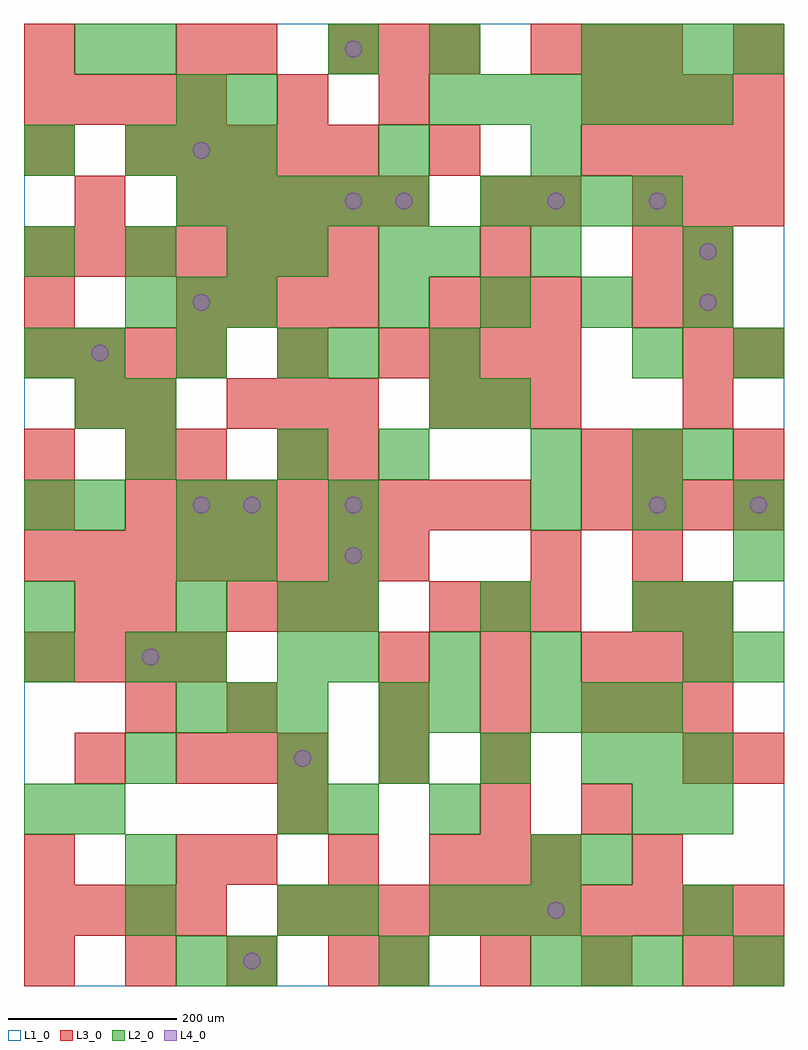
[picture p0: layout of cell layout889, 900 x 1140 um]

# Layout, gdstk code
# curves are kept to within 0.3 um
import gdstk
lib = gdstk.Library(unit=1e-6, precision=1e-09)
def R(c, l, rs):  # rectangles x0, y0, x1, y1
    for r in rs: c.add(gdstk.rectangle(r[:2], r[2:], *l))
def A(c, l, x, y, w, h, nx, ny, dx, dy):  # array of equal rectangles
    R(c, l, [(x+i*dx, y+j*dy, x+i*dx+w, y+j*dy+h) for i in range(nx) for j in range(ny)])
def P(c, l, *ps):  # polygons
    for p in ps: c.add(gdstk.Polygon(p, *l))
L1_0 = (1, 0)
L2_0 = (2, 0)
L3_0 = (3, 0)
L4_0 = (4, 0)

layout889 = lib.new_cell('layout889')
R(layout889, L1_0, [(0,0,900,1140)])
A(layout889, L2_0, 240, 0, 60, 60, 3, 1, 180, 0)
A(layout889, L2_0, 480, 60, 60, 60, 3, 1, 60, 0)
A(layout889, L2_0, 120, 120, 60, 60, 1, 3, 0, 120)
A(layout889, L2_0, 300, 240, 60, 60, 4, 1, 120, 0)
A(layout889, L2_0, 180, 300, 60, 60, 3, 1, 60, 0)
A(layout889, L2_0, 600, 300, 60, 60, 3, 1, 60, 0)
A(layout889, L2_0, 180, 360, 60, 60, 1, 4, 0, 60)
A(layout889, L2_0, 360, 360, 60, 60, 3, 1, 120, 0)
A(layout889, L2_0, 360, 420, 60, 60, 3, 1, 180, 0)
A(layout889, L2_0, 600, 540, 60, 60, 3, 1, 120, 0)
A(layout889, L2_0, 60, 720, 60, 60, 3, 1, 120, 0)
A(layout889, L2_0, 120, 780, 60, 60, 3, 2, 60, 180)
A(layout889, L2_0, 420, 780, 60, 60, 4, 1, 120, 0)
A(layout889, L2_0, 0, 840, 60, 60, 3, 1, 120, 0)
A(layout889, L2_0, 180, 900, 60, 60, 5, 1, 60, 0)
A(layout889, L2_0, 540, 900, 60, 60, 4, 1, 60, 0)
A(layout889, L2_0, 480, 1020, 60, 60, 6, 1, 60, 0)
A(layout889, L2_0, 660, 1080, 60, 60, 4, 1, 60, 0)
R(layout889, L2_0, [(180,0,240,60), (660,0,720,60), (720,0,780,60), (840,0,900,60), (120,60,180,120), (300,60,360,120), (360,60,420,120), (780,60,840,120), (600,120,660,180), (660,120,720,180), (0,180,60,240), (60,180,120,240), (300,180,360,240), (360,180,420,240), (480,180,540,240), (720,180,780,240), (780,180,840,240), (720,240,780,300), (780,240,840,300), (420,300,480,360), (480,300,540,360), (0,360,60,420), (300,360,360,420), (780,360,840,420), (840,360,900,420), (0,420,60,480), (300,420,360,480), (780,420,840,480), (240,480,300,540), (360,480,420,540), (840,480,900,540), (0,540,60,600), (60,540,120,600), (240,540,300,600), (360,540,420,600), (120,600,180,660), (300,600,360,660), (420,600,480,660), (600,600,660,660), (720,600,780,660), (780,600,840,660), (60,660,120,720), (120,660,180,720), (480,660,540,720), (540,660,600,720), (0,720,60,780), (360,720,420,780), (480,720,540,780), (720,720,780,780), (840,720,900,780), (300,840,360,900), (420,840,480,900), (480,840,540,900), (600,840,660,900), (780,840,840,900), (0,960,60,1020), (420,960,480,1020), (600,960,660,1020), (180,1020,240,1080), (240,1020,300,1080), (60,1080,120,1140), (120,1080,180,1140), (360,1080,420,1140), (480,1080,540,1140)])
A(layout889, L3_0, 0, 0, 60, 60, 4, 1, 120, 0)
A(layout889, L3_0, 420, 0, 60, 60, 4, 1, 120, 0)
A(layout889, L3_0, 0, 60, 60, 60, 4, 2, 60, 300)
A(layout889, L3_0, 300, 60, 60, 60, 10, 1, 60, 0)
A(layout889, L3_0, 180, 120, 60, 60, 1, 3, 0, 480)
A(layout889, L3_0, 240, 120, 60, 60, 3, 1, 120, 0)
A(layout889, L3_0, 540, 120, 60, 60, 1, 3, 0, 60)
A(layout889, L3_0, 180, 240, 60, 60, 3, 1, 60, 0)
A(layout889, L3_0, 780, 240, 60, 60, 1, 4, 0, 60)
A(layout889, L3_0, 420, 300, 60, 60, 3, 2, 120, 60)
A(layout889, L3_0, 720, 300, 60, 60, 1, 4, 0, 60)
A(layout889, L3_0, 60, 420, 60, 60, 1, 3, 0, 240)
A(layout889, L3_0, 240, 420, 60, 60, 3, 2, 60, 240)
A(layout889, L3_0, 480, 420, 60, 60, 3, 2, 60, 240)
A(layout889, L3_0, 0, 480, 60, 60, 8, 1, 60, 0)
A(layout889, L3_0, 120, 540, 60, 60, 8, 1, 60, 0)
A(layout889, L3_0, 660, 540, 60, 60, 4, 2, 60, 420)
A(layout889, L3_0, 0, 600, 60, 60, 1, 3, 0, 180)
A(layout889, L3_0, 780, 660, 60, 60, 1, 4, 0, 60)
A(layout889, L3_0, 0, 720, 60, 60, 4, 2, 60, 300)
A(layout889, L3_0, 420, 720, 60, 60, 4, 1, 60, 0)
A(layout889, L3_0, 180, 780, 60, 60, 4, 1, 60, 0)
A(layout889, L3_0, 480, 780, 60, 60, 3, 1, 60, 0)
A(layout889, L3_0, 0, 840, 60, 60, 7, 1, 60, 0)
A(layout889, L3_0, 180, 900, 60, 60, 5, 1, 60, 0)
A(layout889, L3_0, 720, 900, 60, 60, 3, 1, 60, 0)
A(layout889, L3_0, 120, 960, 60, 60, 5, 1, 60, 0)
A(layout889, L3_0, 660, 1020, 60, 60, 4, 1, 60, 0)
A(layout889, L3_0, 360, 1080, 60, 60, 3, 1, 60, 0)
A(layout889, L3_0, 600, 1080, 60, 60, 3, 1, 60, 0)
R(layout889, L3_0, [(840,0,900,60), (0,120,60,180), (600,120,660,180), (720,120,780,180), (300,180,360,240), (660,180,720,240), (60,240,120,300), (420,240,480,300), (840,240,900,300), (120,300,180,360), (240,300,300,360), (120,420,180,480), (600,480,660,540), (0,540,60,600), (120,600,180,660), (300,600,360,660), (360,600,420,660), (660,600,720,660), (720,600,780,660), (840,600,900,660), (120,660,180,720), (300,720,360,780), (840,720,900,780), (720,780,780,840), (540,840,600,900), (720,840,780,900), (540,900,600,960), (600,900,660,960), (480,960,540,1020), (300,1020,360,1080), (420,1020,480,1080), (0,1080,60,1140), (240,1080,300,1140), (840,1080,900,1140)])
P(layout889, L4_0, [(100,750),(99.239,753.827),(97.071,757.071),(93.827,759.239),(90,760),(86.173,759.239),(82.929,757.071),(80.761,753.827),(80,750),(80.761,746.173),(82.929,742.929),(86.173,740.761),(90,740),(93.827,740.761),(97.071,742.929),(99.239,746.173)],
  [(160,390),(159.239,393.827),(157.071,397.071),(153.827,399.239),(150,400),(146.173,399.239),(142.929,397.071),(140.761,393.827),(140,390),(140.761,386.173),(142.929,382.929),(146.173,380.761),(150,380),(153.827,380.761),(157.071,382.929),(159.239,386.173)],
  [(220,570),(219.239,573.827),(217.071,577.071),(213.827,579.239),(210,580),(206.173,579.239),(202.929,577.071),(200.761,573.827),(200,570),(200.761,566.173),(202.929,562.929),(206.173,560.761),(210,560),(213.827,560.761),(217.071,562.929),(219.239,566.173)],
  [(220,810),(219.239,813.827),(217.071,817.071),(213.827,819.239),(210,820),(206.173,819.239),(202.929,817.071),(200.761,813.827),(200,810),(200.761,806.173),(202.929,802.929),(206.173,800.761),(210,800),(213.827,800.761),(217.071,802.929),(219.239,806.173)],
  [(220,990),(219.239,993.827),(217.071,997.071),(213.827,999.239),(210,1000),(206.173,999.239),(202.929,997.071),(200.761,993.827),(200,990),(200.761,986.173),(202.929,982.929),(206.173,980.761),(210,980),(213.827,980.761),(217.071,982.929),(219.239,986.173)],
  [(280,30),(279.239,33.827),(277.071,37.071),(273.827,39.239),(270,40),(266.173,39.239),(262.929,37.071),(260.761,33.827),(260,30),(260.761,26.173),(262.929,22.929),(266.173,20.761),(270,20),(273.827,20.761),(277.071,22.929),(279.239,26.173)],
  [(280,570),(279.239,573.827),(277.071,577.071),(273.827,579.239),(270,580),(266.173,579.239),(262.929,577.071),(260.761,573.827),(260,570),(260.761,566.173),(262.929,562.929),(266.173,560.761),(270,560),(273.827,560.761),(277.071,562.929),(279.239,566.173)],
  [(340,270),(339.239,273.827),(337.071,277.071),(333.827,279.239),(330,280),(326.173,279.239),(322.929,277.071),(320.761,273.827),(320,270),(320.761,266.173),(322.929,262.929),(326.173,260.761),(330,260),(333.827,260.761),(337.071,262.929),(339.239,266.173)],
  [(400,510),(399.239,513.827),(397.071,517.071),(393.827,519.239),(390,520),(386.173,519.239),(382.929,517.071),(380.761,513.827),(380,510),(380.761,506.173),(382.929,502.929),(386.173,500.761),(390,500),(393.827,500.761),(397.071,502.929),(399.239,506.173)],
  [(400,570),(399.239,573.827),(397.071,577.071),(393.827,579.239),(390,580),(386.173,579.239),(382.929,577.071),(380.761,573.827),(380,570),(380.761,566.173),(382.929,562.929),(386.173,560.761),(390,560),(393.827,560.761),(397.071,562.929),(399.239,566.173)],
  [(400,930),(399.239,933.827),(397.071,937.071),(393.827,939.239),(390,940),(386.173,939.239),(382.929,937.071),(380.761,933.827),(380,930),(380.761,926.173),(382.929,922.929),(386.173,920.761),(390,920),(393.827,920.761),(397.071,922.929),(399.239,926.173)],
  [(400,1110),(399.239,1113.827),(397.071,1117.071),(393.827,1119.239),(390,1120),(386.173,1119.239),(382.929,1117.071),(380.761,1113.827),(380,1110),(380.761,1106.173),(382.929,1102.929),(386.173,1100.761),(390,1100),(393.827,1100.761),(397.071,1102.929),(399.239,1106.173)],
  [(460,930),(459.239,933.827),(457.071,937.071),(453.827,939.239),(450,940),(446.173,939.239),(442.929,937.071),(440.761,933.827),(440,930),(440.761,926.173),(442.929,922.929),(446.173,920.761),(450,920),(453.827,920.761),(457.071,922.929),(459.239,926.173)],
  [(640,90),(639.239,93.827),(637.071,97.071),(633.827,99.239),(630,100),(626.173,99.239),(622.929,97.071),(620.761,93.827),(620,90),(620.761,86.173),(622.929,82.929),(626.173,80.761),(630,80),(633.827,80.761),(637.071,82.929),(639.239,86.173)],
  [(640,930),(639.239,933.827),(637.071,937.071),(633.827,939.239),(630,940),(626.173,939.239),(622.929,937.071),(620.761,933.827),(620,930),(620.761,926.173),(622.929,922.929),(626.173,920.761),(630,920),(633.827,920.761),(637.071,922.929),(639.239,926.173)],
  [(760,570),(759.239,573.827),(757.071,577.071),(753.827,579.239),(750,580),(746.173,579.239),(742.929,577.071),(740.761,573.827),(740,570),(740.761,566.173),(742.929,562.929),(746.173,560.761),(750,560),(753.827,560.761),(757.071,562.929),(759.239,566.173)],
  [(760,930),(759.239,933.827),(757.071,937.071),(753.827,939.239),(750,940),(746.173,939.239),(742.929,937.071),(740.761,933.827),(740,930),(740.761,926.173),(742.929,922.929),(746.173,920.761),(750,920),(753.827,920.761),(757.071,922.929),(759.239,926.173)],
  [(820,810),(819.239,813.827),(817.071,817.071),(813.827,819.239),(810,820),(806.173,819.239),(802.929,817.071),(800.761,813.827),(800,810),(800.761,806.173),(802.929,802.929),(806.173,800.761),(810,800),(813.827,800.761),(817.071,802.929),(819.239,806.173)],
  [(820,870),(819.239,873.827),(817.071,877.071),(813.827,879.239),(810,880),(806.173,879.239),(802.929,877.071),(800.761,873.827),(800,870),(800.761,866.173),(802.929,862.929),(806.173,860.761),(810,860),(813.827,860.761),(817.071,862.929),(819.239,866.173)],
  [(880,570),(879.239,573.827),(877.071,577.071),(873.827,579.239),(870,580),(866.173,579.239),(862.929,577.071),(860.761,573.827),(860,570),(860.761,566.173),(862.929,562.929),(866.173,560.761),(870,560),(873.827,560.761),(877.071,562.929),(879.239,566.173)])

lib.write_gds('layout889.gds')
